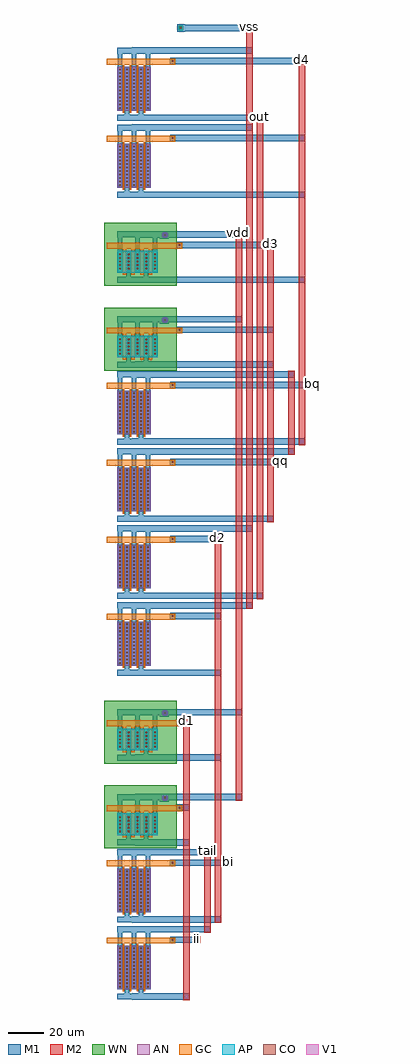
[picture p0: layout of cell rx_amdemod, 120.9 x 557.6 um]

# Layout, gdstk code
import gdstk
lib = gdstk.Library(unit=1e-6, precision=1e-09)
def R(c, l, rs):  # rectangles x0, y0, x1, y1
    for r in rs: c.add(gdstk.rectangle(r[:2], r[2:], *l))
def A(c, l, x, y, w, h, nx, ny, dx, dy):  # array of equal rectangles
    R(c, l, [(x+i*dx, y+j*dy, x+i*dx+w, y+j*dy+h) for i in range(nx) for j in range(ny)])
AP = (3, 1)
AN = (3, 2)
GC = (8, 1)
CO = (11, 0)
M1 = (13, 0)
V1 = (19, 0)
M2 = (20, 0)
WN = (140, 0)

rx_amdemod = lib.new_cell('rx_amdemod')
R(rx_amdemod, AP, [(3,88,26,100.5), (3,136.5,26,149), (3,361,26,373.5), (3,409.5,26,422), (38,548,40.6,550.6)])
A(rx_amdemod, AN, 3, 185, 19, 25, 1, 4, 0, 44)
R(rx_amdemod, AN, [(3,0,22,25), (3,44,22,69), (29,108.1,31.6,110.7), (29,156.6,31.6,159.2), (29,381.1,31.6,383.7), (29,429.6,31.6,432.2), (3,458,22,483), (3,502,22,527)])
A(rx_amdemod, GC, 6, -1.2, 1, 27.4, 4, 2, 4, 44)
A(rx_amdemod, GC, 6, 86.8, 2, 14.9, 4, 2, 5, 48.5)
A(rx_amdemod, GC, 6, 183.8, 1, 27.4, 4, 4, 4, 44)
A(rx_amdemod, GC, -3, 211.2, 39, 3.4, 1, 4, 0, 44)
A(rx_amdemod, GC, 6, 359.8, 2, 14.9, 4, 2, 5, 48.5)
A(rx_amdemod, GC, 6, 456.8, 1, 27.4, 4, 2, 4, 44)
R(rx_amdemod, GC, [(-3,26.2,36,29.6), (-3,70.2,36,73.6), (-3,101.7,40,105.1), (-3,150.2,40,153.6), (-3,374.7,40,378.1), (-3,423.2,40,426.6), (-3,484.2,36,487.6), (-3,528.2,36,531.6)])
A(rx_amdemod, CO, 4, 1, 1, 1, 5, 12, 4, 2)
A(rx_amdemod, CO, 4, 45, 1, 1, 5, 12, 4, 2)
A(rx_amdemod, CO, 4, 89.75, 1, 1, 5, 5, 5, 2)
A(rx_amdemod, CO, 4, 138.25, 1, 1, 5, 5, 5, 2)
A(rx_amdemod, CO, 4, 186, 1, 1, 5, 12, 4, 2)
A(rx_amdemod, CO, 34, 212.8, 1, 1, 1, 4, 0, 44)
A(rx_amdemod, CO, 4, 230, 1, 1, 5, 12, 4, 2)
A(rx_amdemod, CO, 4, 274, 1, 1, 5, 12, 4, 2)
A(rx_amdemod, CO, 4, 318, 1, 1, 5, 12, 4, 2)
A(rx_amdemod, CO, 4, 362.75, 1, 1, 5, 5, 5, 2)
A(rx_amdemod, CO, 4, 411.25, 1, 1, 5, 5, 5, 2)
A(rx_amdemod, CO, 4, 459, 1, 1, 5, 12, 4, 2)
A(rx_amdemod, CO, 4, 503, 1, 1, 5, 12, 4, 2)
R(rx_amdemod, CO, [(34,27.8,35,28.8), (34,71.8,35,72.8), (38,103.3,39,104.3), (29.8,108.9,30.8,109.9), (38,151.8,39,152.8), (29.8,157.4,30.8,158.4), (38,376.3,39,377.3), (29.8,381.9,30.8,382.9), (38,424.8,39,425.8), (29.8,430.4,30.8,431.4), (34,485.8,35,486.8), (34,529.8,35,530.8), (38.8,548.8,39.8,549.8)])
A(rx_amdemod, M1, 3.2, 0.2, 2.6, 33.3, 3, 2, 8, 44)
A(rx_amdemod, M1, 3.2, 88.2, 2.6, 20.8, 3, 2, 10, 48.5)
A(rx_amdemod, M1, 7.2, 179.2, 2.6, 30.6, 1, 4, 0, 44)
A(rx_amdemod, M1, 15.2, 179.2, 2.6, 30.6, 1, 4, 0, 44)
A(rx_amdemod, M1, 3.2, 185.2, 2.6, 33.3, 3, 4, 8, 44)
A(rx_amdemod, M1, 33, 212, 3, 2.6, 1, 4, 0, 44)
A(rx_amdemod, M1, 3.2, 361.2, 2.6, 20.8, 3, 2, 10, 48.5)
A(rx_amdemod, M1, 3.2, 458.2, 2.6, 33.3, 3, 2, 8, 44)
R(rx_amdemod, M1, [(11.2,-5.9,44.4,-2.3), (3,-5.8,22,-2.4), (7.2,-5.8,9.8,24.8), (15.2,-5.8,17.8,24.8), (33.2,26.5,50.4,30.1), (33,27,36,29.6), (11.2,32.5,56.4,36.1), (3,32.6,22,36), (11.2,38.1,62.4,41.7), (3,38.2,22,41.6), (7.2,38.2,9.8,68.8), (15.2,38.2,17.8,68.8), (33.2,70.5,68.4,74.1), (33,71,36,73.6), (11.2,76.5,56.4,80.1), (3,76.6,22,80), (13.2,82.1,44.4,85.7), (3,82.2,26,85.6), (8.2,82.2,10.8,100.3), (18.2,82.2,20.8,100.3), (37.2,102,44.4,105.6), (37,102.5,40,105.1), (27.3,107.2,32.5,111.6), (13.2,108,74.4,111.6), (3,108.1,32.6,111.5), (13.2,130.6,62.4,134.2), (3,130.7,26,134.1), (8.2,130.7,10.8,148.8), (18.2,130.7,20.8,148.8), (37.2,150.5,44.4,154.1), (37,151,40,153.6), (27.3,155.7,32.5,160.1), (13.2,156.5,74.4,160.1), (3,156.6,32.6,160), (11.2,179.1,62.4,182.7), (3,179.2,22,182.6), (33.2,211.5,62.4,215.1), (11.2,217.5,80.4,221.1), (3,217.6,22,221), (11.2,223.1,86.4,226.7), (3,223.2,22,226.6), (33.2,255.5,62.4,259.1), (11.2,261.5,80.4,265.1), (3,261.6,22,265), (11.2,267.1,92.4,270.7), (3,267.2,22,270.6), (33.2,299.5,98.4,303.1), (11.2,305.5,104.4,309.1), (3,305.6,22,309), (11.2,311.1,110.4,314.7), (3,311.2,22,314.6), (33.2,343.5,116.4,347.1), (11.2,349.5,104.4,353.1), (3,349.6,22,353), (13.2,355.1,92.4,358.7), (3,355.2,26,358.6), (8.2,355.2,10.8,373.3), (18.2,355.2,20.8,373.3), (37.2,375,92.4,378.6), (37,375.5,40,378.1), (27.3,380.2,32.5,384.6), (13.2,381,74.4,384.6), (3,381.1,32.6,384.5), (13.2,403.6,110.4,407.2), (3,403.7,26,407.1), (8.2,403.7,10.8,421.8), (18.2,403.7,20.8,421.8), (37.2,423.5,92.4,427.1), (37,424,40,426.6), (27.3,428.7,32.5,433.1), (13.2,429.5,74.4,433.1), (3,429.6,32.6,433), (11.2,452.1,110.4,455.7), (3,452.2,22,455.6), (7.2,452.2,9.8,482.8), (15.2,452.2,17.8,482.8), (33.2,484.5,110.4,488.1), (33,485,36,487.6), (11.2,490.5,80.4,494.1), (3,490.6,22,494), (11.2,496.1,86.4,499.7), (3,496.2,22,499.6), (7.2,496.2,9.8,526.8), (15.2,496.2,17.8,526.8), (33.2,528.5,110.4,532.1), (33,529,36,531.6), (11.2,534.5,80.4,538.1), (3,534.6,22,538), (37.1,547.1,41.5,551.5), (38,547.5,80.4,551.1)])
R(rx_amdemod, V1, [(41.8,-4.8,43.2,-3.4), (47.8,27.6,49.2,29), (53.8,33.6,55.2,35), (59.8,39.2,61.2,40.6), (65.8,71.6,67.2,73), (53.8,77.6,55.2,79), (41.8,83.2,43.2,84.6), (41.8,103.1,43.2,104.5), (71.8,109.1,73.2,110.5), (59.8,131.7,61.2,133.1), (41.8,151.6,43.2,153), (71.8,157.6,73.2,159), (59.8,180.2,61.2,181.6), (59.8,212.6,61.2,214), (77.8,218.6,79.2,220), (83.8,224.2,85.2,225.6), (59.8,256.6,61.2,258), (77.8,262.6,79.2,264), (89.8,268.2,91.2,269.6), (95.8,300.6,97.2,302), (101.8,306.6,103.2,308), (107.8,312.2,109.2,313.6), (113.8,344.6,115.2,346), (101.8,350.6,103.2,352), (89.8,356.2,91.2,357.6), (89.8,376.1,91.2,377.5), (71.8,382.1,73.2,383.5), (107.8,404.7,109.2,406.1), (89.8,424.6,91.2,426), (71.8,430.6,73.2,432), (107.8,453.2,109.2,454.6), (107.8,485.6,109.2,487), (77.8,491.6,79.2,493), (83.8,497.2,85.2,498.6), (107.8,529.6,109.2,531), (77.8,535.6,79.2,537), (77.8,548.6,79.2,550)])
R(rx_amdemod, M2, [(40.6,-6.1,44.4,154.3), (46.6,26.3,50.4,30.3), (52.6,32.3,56.4,80.3), (58.6,37.9,62.4,259.3), (64.6,70.3,68.4,74.3), (70.6,107.8,74.4,433.3), (76.6,217.3,80.4,551.3), (82.6,222.9,86.4,499.9), (88.6,266.9,92.4,427.3), (94.6,299.3,98.4,303.3), (100.6,305.3,104.4,353.3), (106.6,310.9,110.4,532.3), (112.6,343.3,116.4,347.3)])
R(rx_amdemod, WN, [(-4.5,80.5,37,116.5), (-4.5,129,37,165), (-4.5,353.5,37,389.5), (-4.5,402,37,438)])
rx_amdemod.add(gdstk.Label('ii', (48.5,29.3), layer=49, texttype=0))
rx_amdemod.add(gdstk.Label('qq', (96.5,302.3), layer=49, texttype=0))
rx_amdemod.add(gdstk.Label('bi', (66.5,73.3), layer=49, texttype=0))
rx_amdemod.add(gdstk.Label('bq', (114.5,346.3), layer=49, texttype=0))
rx_amdemod.add(gdstk.Label('d1', (42.5,153.3), layer=49, texttype=0))
rx_amdemod.add(gdstk.Label('d2', (60.5,258.3), layer=49, texttype=0))
rx_amdemod.add(gdstk.Label('d3', (90.5,426.3), layer=49, texttype=0))
rx_amdemod.add(gdstk.Label('d4', (108.5,531.3), layer=49, texttype=0))
rx_amdemod.add(gdstk.Label('tail', (54.5,79.3), layer=49, texttype=0))
rx_amdemod.add(gdstk.Label('tailq', (102.5,352.3), layer=49, texttype=0))
rx_amdemod.add(gdstk.Label('out', (84.5,498.9), layer=49, texttype=0))
rx_amdemod.add(gdstk.Label('vdd', (72.5,432.3), layer=49, texttype=0))
rx_amdemod.add(gdstk.Label('vss', (78.5,550.3), layer=49, texttype=0))

lib.write_gds('rx_amdemod.gds')
